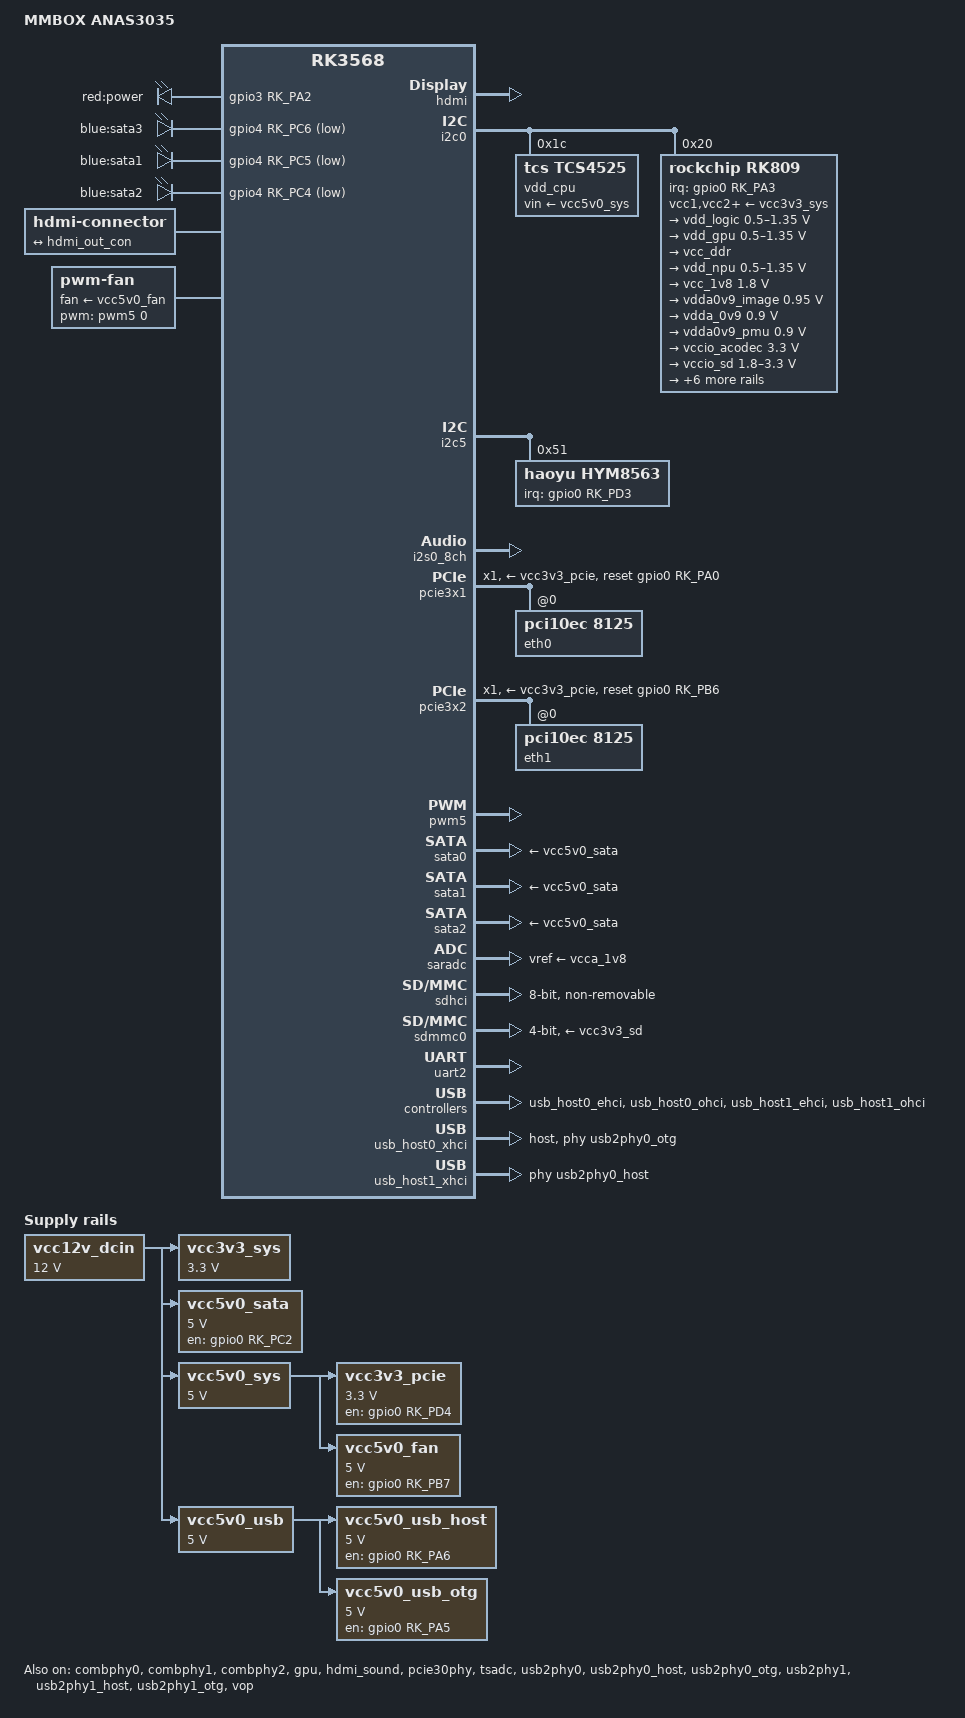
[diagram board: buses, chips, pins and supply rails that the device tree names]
// SPDX-License-Identifier: GPL-2.0-or-later OR MIT

/dts-v1/;
#include <dt-bindings/gpio/gpio.h>
#include <dt-bindings/input/input.h>
#include <dt-bindings/leds/common.h>
#include <dt-bindings/pinctrl/rockchip.h>
#include <dt-bindings/soc/rockchip,vop2.h>
#include "rk3568.dtsi"

/ {
	model = "MMBOX ANAS3035";
	compatible = "mmbox,anas3035", "rockchip,rk3568";

	aliases {
		mmc0 = &sdhci;
		mmc1 = &sdmmc0;

		led-boot = &power_led;
		led-failsafe = &power_led;
		led-running = &power_led;
		led-upgrade = &power_led;
	};

	chosen: chosen {
		stdout-path = "serial2:1500000n8";
	};

	gpio-leds {
		compatible = "gpio-leds";
		pinctrl-names = "default";
		pinctrl-0 = <&power_led_pin>, <&sata0_pins>, <&sata1_pins>, <&sata2_pins>;

		power_led: led-0 {
			label = "red:power";
			gpios = <&gpio3 RK_PA2 GPIO_ACTIVE_HIGH>;
		};

		sata0_led: led-1 {
			/* for sata2 slot */
			label = "blue:sata3";
			gpios = <&gpio4 RK_PC6 GPIO_ACTIVE_LOW>;
			linux,default-trigger = "disk-activity";
		};

		sata1_led: led-2 {
			/* for sata0 slot */
			label = "blue:sata1";
			gpios = <&gpio4 RK_PC5 GPIO_ACTIVE_LOW>;
			linux,default-trigger = "disk-activity";
		};

		sata2_led: led-3 {
			/* for sata1 slot */
			label = "blue:sata2";
			gpios = <&gpio4 RK_PC4 GPIO_ACTIVE_LOW>;
			linux,default-trigger = "disk-activity";
		};
	};

	hdmi-con {
		compatible = "hdmi-connector";
		type = "a";

		port {
			hdmi_con_in: endpoint {
				remote-endpoint = <&hdmi_out_con>;
			};
		};
	};

	fan: pwm-fan {
		compatible = "pwm-fan";
		#cooling-cells = <2>;
		cooling-levels = <0 80 128 175 230 255>;
		fan-supply = <&vcc5v0_fan>;
		pwms = <&pwm5 0 50000 0>;
	};

	vcc12v_dcin: regulator-vcc12v-dcin {
		compatible = "regulator-fixed";
		regulator-name = "vcc12v_dcin";
		regulator-always-on;
		regulator-boot-on;
		regulator-min-microvolt = <12000000>;
		regulator-max-microvolt = <12000000>;
	};

	vcc3v3_pcie: regulator-vcc3v3-pcie {
		compatible = "regulator-fixed";
		enable-active-high;
		gpios = <&gpio0 RK_PD4 GPIO_ACTIVE_HIGH>;
		pinctrl-names = "default";
		pinctrl-0 = <&pcie_pwr_en>;
		regulator-name = "vcc3v3_pcie";
		regulator-always-on;
		regulator-boot-on;
		regulator-min-microvolt = <3300000>;
		regulator-max-microvolt = <3300000>;
		vin-supply = <&vcc5v0_sys>;
	};

	vcc3v3_sys: regulator-vcc3v3-sys {
		compatible = "regulator-fixed";
		regulator-name = "vcc3v3_sys";
		regulator-always-on;
		regulator-boot-on;
		regulator-min-microvolt = <3300000>;
		regulator-max-microvolt = <3300000>;
		vin-supply = <&vcc12v_dcin>;
	};

	vcc5v0_fan: regulator-vcc5v0-fan {
		compatible = "regulator-fixed";
		enable-active-high;
		gpio = <&gpio0 RK_PB7 GPIO_ACTIVE_HIGH>;
		pinctrl-names = "default";
		pinctrl-0 = <&fan_pwr_en>;
		regulator-name = "vcc5v0_fan";
		regulator-min-microvolt = <5000000>;
		regulator-max-microvolt = <5000000>;
		vin-supply = <&vcc5v0_sys>;
	};

	vcc5v0_sata: regulator-vcc5v0-sata {
		compatible = "regulator-fixed";
		enable-active-high;
		gpio = <&gpio0 RK_PC2 GPIO_ACTIVE_HIGH>;
		pinctrl-names = "default";
		pinctrl-0 = <&sata_pwr_en>;
		regulator-name = "vcc5v0_sata";
		regulator-min-microvolt = <5000000>;
		regulator-max-microvolt = <5000000>;
		vin-supply = <&vcc12v_dcin>;
	};

	vcc5v0_sys: regulator-vcc5v0-sys {
		compatible = "regulator-fixed";
		regulator-name = "vcc5v0_sys";
		regulator-always-on;
		regulator-boot-on;
		regulator-min-microvolt = <5000000>;
		regulator-max-microvolt = <5000000>;
		vin-supply = <&vcc12v_dcin>;
	};

	vcc5v0_usb: regulator-vcc5v0-usb {
		compatible = "regulator-fixed";
		regulator-name = "vcc5v0_usb";
		regulator-always-on;
		regulator-boot-on;
		regulator-min-microvolt = <5000000>;
		regulator-max-microvolt = <5000000>;
		vin-supply = <&vcc12v_dcin>;
	};

	vcc5v0_usb_host: regulator-vcc5v0-usb-host {
		compatible = "regulator-fixed";
		enable-active-high;
		gpio = <&gpio0 RK_PA6 GPIO_ACTIVE_HIGH>;
		pinctrl-names = "default";
		pinctrl-0 = <&vcc5v0_usb_host_en>;
		regulator-name = "vcc5v0_usb_host";
		regulator-always-on;
		regulator-boot-on;
		regulator-min-microvolt = <5000000>;
		regulator-max-microvolt = <5000000>;
		vin-supply = <&vcc5v0_usb>;
	};

	vcc5v0_usb_otg: regulator-vcc5v0-usb-otg {
		compatible = "regulator-fixed";
		enable-active-high;
		gpio = <&gpio0 RK_PA5 GPIO_ACTIVE_HIGH>;
		pinctrl-names = "default";
		pinctrl-0 = <&vcc5v0_usb_otg_en>;
		regulator-name = "vcc5v0_usb_otg";
		regulator-min-microvolt = <5000000>;
		regulator-max-microvolt = <5000000>;
		vin-supply = <&vcc5v0_usb>;
	};
};

&combphy0 {
	status = "okay";
};

&combphy1 {
	status = "okay";
};

&combphy2 {
	status = "okay";
};

&cpu0 {
	cpu-supply = <&vdd_cpu>;
};

&cpu1 {
	cpu-supply = <&vdd_cpu>;
};

&cpu2 {
	cpu-supply = <&vdd_cpu>;
};

&cpu3 {
	cpu-supply = <&vdd_cpu>;
};

&cpu_thermal {
	trips {
		cpu_trip_active_cool: cpu-trip-active-cool {
			temperature = <20000>;
			hysteresis = <2000>;
			type = "active";
		};

		cpu_trip_active_low: cpu-trip-active-low {
			temperature = <30000>;
			hysteresis = <2000>;
			type = "active";
		};

		cpu_trip_active_med: cpu-trip-active-med {
			temperature = <40000>;
			hysteresis = <2000>;
			type = "active";
		};

		cpu_trip_active_high: cpu-trip-active-high {
			temperature = <50000>;
			hysteresis = <2000>;
			type = "active";
		};

		cpu_trip_active_hot: cpu-trip-active-hot {
			temperature = <60000>;
			hysteresis = <2000>;
			type = "hot";
		};
	};

	cooling-maps {
		cpu-active-cool {
			trip = <&cpu_trip_active_cool>;
			cooling-device = <&fan THERMAL_NO_LIMIT 1>;
		};

		cpu-active-low {
			trip = <&cpu_trip_active_low>;
			cooling-device = <&fan 1 2>;
		};

		cpu-active-med {
			trip = <&cpu_trip_active_med>;
			cooling-device = <&fan 2 3>;
		};

		cpu-active-high {
			trip = <&cpu_trip_active_high>;
			cooling-device = <&fan 3 4>;
		};

		cpu-active-hot {
			trip = <&cpu_trip_active_hot>;
			cooling-device = <&fan 4 THERMAL_NO_LIMIT>;
		};
	};
};

&gpu {
	mali-supply = <&vdd_gpu>;
	status = "okay";
};

&hdmi {
	avdd-0v9-supply = <&vdda0v9_image>;
	avdd-1v8-supply = <&vcca1v8_image>;
	status = "okay";
};

&hdmi_in {
	hdmi_in_vp0: endpoint {
		remote-endpoint = <&vp0_out_hdmi>;
	};
};

&hdmi_out {
	hdmi_out_con: endpoint {
		remote-endpoint = <&hdmi_con_in>;
	};
};

&hdmi_sound {
	status = "okay";
};

&i2c0 {
	status = "okay";

	vdd_cpu: regulator@1c {
		compatible = "tcs,tcs4525";
		reg = <0x1c>;
		fcs,suspend-voltage-selector = <1>;
		regulator-name = "vdd_cpu";
		regulator-always-on;
		regulator-boot-on;
		regulator-min-microvolt = <800000>;
		regulator-max-microvolt = <1150000>;
		regulator-ramp-delay = <2300>;
		vin-supply = <&vcc5v0_sys>;

		regulator-state-mem {
			regulator-off-in-suspend;
		};
	};

	rk809: pmic@20 {
		compatible = "rockchip,rk809";
		reg = <0x20>;
		interrupt-parent = <&gpio0>;
		interrupts = <RK_PA3 IRQ_TYPE_LEVEL_LOW>;
		#clock-cells = <1>;
		pinctrl-names = "default";
		pinctrl-0 = <&pmic_int>;
		rockchip,system-power-controller;
		vcc1-supply = <&vcc3v3_sys>;
		vcc2-supply = <&vcc3v3_sys>;
		vcc3-supply = <&vcc3v3_sys>;
		vcc4-supply = <&vcc3v3_sys>;
		vcc5-supply = <&vcc3v3_sys>;
		vcc6-supply = <&vcc3v3_sys>;
		vcc7-supply = <&vcc3v3_sys>;
		vcc8-supply = <&vcc3v3_sys>;
		vcc9-supply = <&vcc3v3_sys>;
		wakeup-source;

		regulators {
			vdd_logic: DCDC_REG1 {
				regulator-name = "vdd_logic";
				regulator-always-on;
				regulator-boot-on;
				regulator-initial-mode = <0x2>;
				regulator-min-microvolt = <500000>;
				regulator-max-microvolt = <1350000>;
				regulator-ramp-delay = <6001>;

				regulator-state-mem {
					regulator-off-in-suspend;
				};
			};

			vdd_gpu: DCDC_REG2 {
				regulator-name = "vdd_gpu";
				regulator-always-on;
				regulator-initial-mode = <0x2>;
				regulator-min-microvolt = <500000>;
				regulator-max-microvolt = <1350000>;
				regulator-ramp-delay = <6001>;

				regulator-state-mem {
					regulator-off-in-suspend;
				};
			};

			vcc_ddr: DCDC_REG3 {
				regulator-name = "vcc_ddr";
				regulator-always-on;
				regulator-boot-on;
				regulator-initial-mode = <0x2>;

				regulator-state-mem {
					regulator-on-in-suspend;
				};
			};

			vdd_npu: DCDC_REG4 {
				regulator-name = "vdd_npu";
				regulator-initial-mode = <0x2>;
				regulator-min-microvolt = <500000>;
				regulator-max-microvolt = <1350000>;
				regulator-ramp-delay = <6001>;

				regulator-state-mem {
					regulator-off-in-suspend;
				};
			};

			vcc_1v8: DCDC_REG5 {
				regulator-name = "vcc_1v8";
				regulator-always-on;
				regulator-boot-on;
				regulator-min-microvolt = <1800000>;
				regulator-max-microvolt = <1800000>;

				regulator-state-mem {
					regulator-off-in-suspend;
				};
			};

			vdda0v9_image: LDO_REG1 {
				regulator-name = "vdda0v9_image";
				regulator-min-microvolt = <950000>;
				regulator-max-microvolt = <950000>;

				regulator-state-mem {
					regulator-off-in-suspend;
				};
			};

			vdda_0v9: LDO_REG2 {
				regulator-name = "vdda_0v9";
				regulator-always-on;
				regulator-boot-on;
				regulator-min-microvolt = <900000>;
				regulator-max-microvolt = <900000>;

				regulator-state-mem {
					regulator-off-in-suspend;
				};
			};

			vdda0v9_pmu: LDO_REG3 {
				regulator-name = "vdda0v9_pmu";
				regulator-always-on;
				regulator-boot-on;
				regulator-min-microvolt = <900000>;
				regulator-max-microvolt = <900000>;

				regulator-state-mem {
					regulator-on-in-suspend;
					regulator-suspend-microvolt = <900000>;
				};
			};

			vccio_acodec: LDO_REG4 {
				regulator-name = "vccio_acodec";
				regulator-min-microvolt = <3300000>;
				regulator-max-microvolt = <3300000>;

				regulator-state-mem {
					regulator-off-in-suspend;
				};
			};

			vccio_sd: LDO_REG5 {
				regulator-name = "vccio_sd";
				regulator-min-microvolt = <1800000>;
				regulator-max-microvolt = <3300000>;

				regulator-state-mem {
					regulator-off-in-suspend;
				};
			};

			vcc3v3_pmu: LDO_REG6 {
				regulator-name = "vcc3v3_pmu";
				regulator-always-on;
				regulator-boot-on;
				regulator-min-microvolt = <3300000>;
				regulator-max-microvolt = <3300000>;

				regulator-state-mem {
					regulator-on-in-suspend;
					regulator-suspend-microvolt = <3300000>;
				};
			};

			vcca_1v8: LDO_REG7 {
				regulator-name = "vcca_1v8";
				regulator-always-on;
				regulator-boot-on;
				regulator-min-microvolt = <1800000>;
				regulator-max-microvolt = <1800000>;

				regulator-state-mem {
					regulator-off-in-suspend;
				};
			};

			vcca1v8_pmu: LDO_REG8 {
				regulator-name = "vcca1v8_pmu";
				regulator-always-on;
				regulator-boot-on;
				regulator-min-microvolt = <1800000>;
				regulator-max-microvolt = <1800000>;

				regulator-state-mem {
					regulator-on-in-suspend;
					regulator-suspend-microvolt = <1800000>;
				};
			};

			vcca1v8_image: LDO_REG9 {
				regulator-name = "vcca1v8_image";
				regulator-min-microvolt = <1800000>;
				regulator-max-microvolt = <1800000>;

				regulator-state-mem {
					regulator-off-in-suspend;
				};
			};

			vcc_3v3: SWITCH_REG1 {
				regulator-name = "vcc_3v3";
				regulator-always-on;
				regulator-boot-on;

				regulator-state-mem {
					regulator-off-in-suspend;
				};
			};

			vcc3v3_sd: SWITCH_REG2 {
				regulator-name = "vcc3v3_sd";
				regulator-always-on;
				regulator-boot-on;

				regulator-state-mem {
					regulator-off-in-suspend;
				};
			};
		};

	};
};

&i2c5 {
	status = "okay";

	hym8563: rtc@51 {
		compatible = "haoyu,hym8563";
		reg = <0x51>;
		#clock-cells = <0>;
		clock-output-names = "rtcic_32kout";
		interrupt-parent = <&gpio0>;
		interrupts = <RK_PD3 IRQ_TYPE_LEVEL_LOW>;
		pinctrl-names = "default";
		pinctrl-0 = <&hym8563_int>;
		wakeup-source;
	};
};

&i2s0_8ch {
	status = "okay";
};

&pcie30phy {
	data-lanes = <1 2>;
	status = "okay";
};

&pcie3x1 {
	num-lanes = <1>;
	reset-gpios = <&gpio0 RK_PA0 GPIO_ACTIVE_HIGH>;
	vpcie3v3-supply = <&vcc3v3_pcie>;
	status = "okay";

	pcie@0,0 {
		reg = <0x00100000 0 0 0 0>;
		#address-cells = <3>;
		#size-cells = <2>;

		pcie-eth@10,0 {
			compatible = "pci10ec,8125";
			reg = <0x000000 0 0 0 0>;
			label = "eth0";
			led-data = <0x0 0x0 0x200 0x2b>;
		};
	};
};

&pcie3x2 {
	num-lanes = <1>;
	reset-gpios = <&gpio0 RK_PB6 GPIO_ACTIVE_HIGH>;
	vpcie3v3-supply = <&vcc3v3_pcie>;
	status = "okay";

	pcie@0,0 {
		reg = <0x00200000 0 0 0 0>;
		#address-cells = <3>;
		#size-cells = <2>;

		pcie-eth@20,0 {
			compatible = "pci10ec,8125";
			reg = <0x000000 0 0 0 0>;
			label = "eth1";
			led-data = <0x0 0x0 0x200 0x2b>;
		};
	};
};

&pinctrl {
	fan {
		fan_pwr_en: fan-pwr-en {
			rockchip,pins = <0 RK_PB7 RK_FUNC_GPIO &pcfg_pull_down>;
		};
	};

	gpio-leds {
		power_led_pin: power-led-pin {
			rockchip,pins = <3 RK_PA2 RK_FUNC_GPIO &pcfg_pull_none>;
		};
	};

	hym8563 {
		hym8563_int: hym8563-int {
			rockchip,pins = <0 RK_PD3 RK_FUNC_GPIO &pcfg_pull_up>;
		};
	};

	pcie {
		pcie_pwr_en: pcie-pwr-en {
			rockchip,pins = <0 RK_PD4 RK_FUNC_GPIO &pcfg_pull_down>;
		};
	};

	pmic {
		pmic_int: pmic-int {
			rockchip,pins = <0 RK_PA3 RK_FUNC_GPIO &pcfg_pull_up>;
		};
	};

	rockchip-key {
		reset_button_pin: reset-button-pin {
			rockchip,pins = <0 RK_PA1 RK_FUNC_GPIO &pcfg_pull_none>;
		};
	};

	sata {
		sata_pwr_en: sata-pwr-en {
			rockchip,pins = <0 RK_PC2 RK_FUNC_GPIO &pcfg_pull_down>;
		};
	};

	usb {
		vcc5v0_usb_host_en: vcc5v0-usb-host-en {
			rockchip,pins = <0 RK_PA6 RK_FUNC_GPIO &pcfg_pull_none>;
		};

		vcc5v0_usb_otg_en: vcc5v0-usb-otg-en {
			rockchip,pins = <0 RK_PA5 RK_FUNC_GPIO &pcfg_pull_none>;
		};
	};
};

&pmu_io_domains {
	pmuio1-supply = <&vcc3v3_pmu>;
	pmuio2-supply = <&vcc3v3_pmu>;
	vccio1-supply = <&vccio_acodec>;
	vccio3-supply = <&vccio_sd>;
	vccio4-supply = <&vcc_1v8>;
	vccio5-supply = <&vcc_3v3>;
	vccio6-supply = <&vcc_1v8>;
	vccio7-supply = <&vcc_3v3>;
	status = "okay";
};

&pwm5 {
	status = "okay";
};

&sata0 {
	phy-supply = <&vcc5v0_sata>;
	status = "okay";
};

&sata1 {
	phy-supply = <&vcc5v0_sata>;
	status = "okay";
};

&sata2 {
	phy-supply = <&vcc5v0_sata>;
	status = "okay";
};

&saradc {
	vref-supply = <&vcca_1v8>;
	status = "okay";
};

&sdhci {
	bus-width = <8>;
	max-frequency = <200000000>;
	mmc-hs200_1_8v;
	non-removable;
	pinctrl-names = "default";
	pinctrl-0 = <&emmc_bus8 &emmc_clk &emmc_cmd &emmc_datastrobe>;
	status = "okay";
};

&sdmmc0 {
	bus-width = <4>;
	cap-mmc-highspeed;
	cap-sd-highspeed;
	disable-wp;
	no-sdio;
	no-mmc;
	pinctrl-names = "default";
	pinctrl-0 = <&sdmmc0_bus4 &sdmmc0_clk &sdmmc0_cmd &sdmmc0_det>;
	sd-uhs-sdr50;
	vmmc-supply = <&vcc3v3_sd>;
	vqmmc-supply = <&vccio_sd>;
	status = "okay";
};

&tsadc {
	rockchip,hw-tshut-mode = <1>;
	rockchip,hw-tshut-polarity = <0>;
	status = "okay";
};

&uart2 {
	status = "okay";
};

&usb_host0_ehci {
	status = "okay";
};

&usb_host0_ohci {
	status = "okay";
};

&usb_host0_xhci {
	dr_mode = "host";
	extcon = <&usb2phy0>;
	maximum-speed = "high-speed";
	phys = <&usb2phy0_otg>;
	phy-names = "usb2-phy";
	status = "okay";
};

&usb_host1_ehci {
	status = "okay";
};

&usb_host1_ohci {
	status = "okay";
};

&usb_host1_xhci {
	maximum-speed = "high-speed";
	phys = <&usb2phy0_host>;
	phy-names = "usb2-phy";
	status = "okay";
};

&usb2phy0 {
	status = "okay";
};

&usb2phy0_host {
	phy-supply = <&vcc5v0_usb_host>;
	status = "okay";
};

&usb2phy0_otg {
	phy-supply = <&vcc5v0_usb_otg>;
	status = "okay";
};

&usb2phy1 {
	status = "okay";
};

&usb2phy1_host {
	status = "okay";
};

&usb2phy1_otg {
	status = "okay";
};

&vop {
	assigned-clocks = <&cru DCLK_VOP0>, <&cru DCLK_VOP1>;
	assigned-clock-parents = <&pmucru PLL_HPLL>, <&cru PLL_VPLL>;
	status = "okay";
};

&vop_mmu {
	status = "okay";
};

&vp0 {
	vp0_out_hdmi: endpoint@ROCKCHIP_VOP2_EP_HDMI0 {
		reg = <ROCKCHIP_VOP2_EP_HDMI0>;
		remote-endpoint = <&hdmi_in_vp0>;
	};
};
